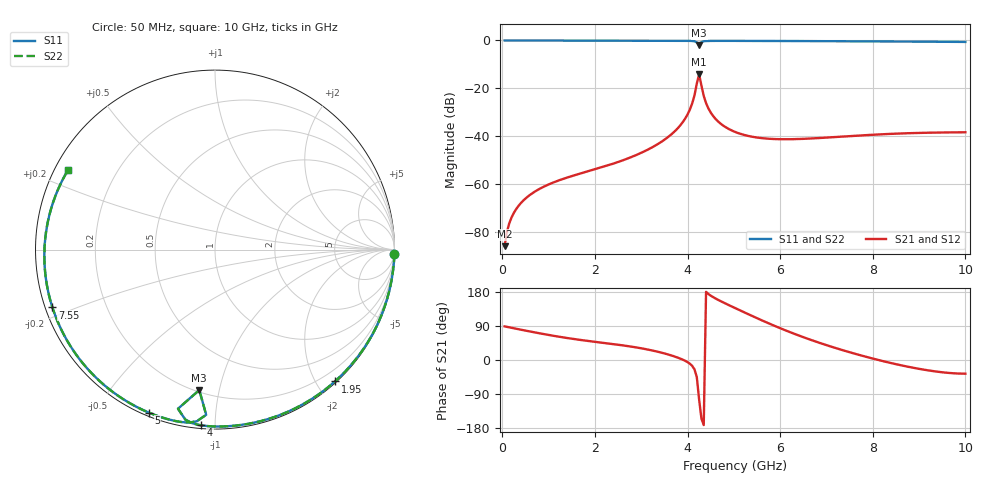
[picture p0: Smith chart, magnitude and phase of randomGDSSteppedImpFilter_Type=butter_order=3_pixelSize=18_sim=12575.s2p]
! freq	dB(S11)	phase(S11)	dB(S12)	phase(S12)
!  dB(S21)	phase(S21)	dB(S22)	phase(S22)
!S-par simulation data
#  GHz  S  DB  R 50
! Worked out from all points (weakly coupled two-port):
!   200 points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, 50 MHz to 10 GHz, reference 50 ohm
!   highest |S21| = -14.17 dB at 4.25 GHz (marker M1); lowest = -86.1 dB at 50 MHz (marker M2)
!   lowest |S11| = -2.1 dB at 4.25 GHz (marker M3), VSWR 8.41, Z = 10.6 - j43.6 ohm
!   |S11| at or under -10 dB: nowhere
!   |S22| runs from -2.1 to 0.0 dB; largest |S21 - S12| = 0
!   S11 on the Smith chart (normalised r, x): 50 MHz: 0, -91; 1.95 GHz: 0.02, -2.26; 4 GHz: 0.02, -0.93; 5 GHz: 0.01, -0.67; 7.55 GHz: 0.02, -0.17; 10 GHz: 0.04, +0.25
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0.05  -0.00 -1.3  -86.06 88.7  -86.06 88.7  -0.00 -1.3
0.1  -0.00 -2.5  -80.04 87.4  -80.04 87.4  -0.00 -2.5
0.3  -0.01 -7.5  -70.53 82.4  -70.53 82.4  -0.01 -7.5
0.6  -0.02 -15.0  -64.58 75.2  -64.58 75.2  -0.02 -15.0
1.75  -0.05 -43.0  -55.30 51.9  -55.30 51.9  -0.05 -43.0
1.95  -0.06 -47.7  -54.18 48.7  -54.18 48.7  -0.06 -47.7
3.4  -0.11 -80.6  -42.84 20.6  -42.84 20.6  -0.11 -80.6
3.75  -0.12 -88.3  -37.51 8.0  -37.51 8.0  -0.12 -88.4
4  -0.16 -94.4  -30.96 -5.6  -30.96 -5.6  -0.16 -94.4
4.1  -0.22 -97.6  -26.38 -15.4  -26.38 -15.4  -0.22 -97.6
4.2  -0.82 -103.1  -18.07 -44.9  -18.07 -44.9  -0.82 -103.1
4.25  -2.08 -96.4  -14.17 -104.1  -14.17 -104.1  -2.08 -96.4
4.35  -0.34 -96.0  -23.21 -171.7  -23.21 -171.7  -0.34 -96.0
4.5  -0.19 -101.1  -30.13 169.8  -30.13 169.8  -0.19 -101.1
4.7  -0.17 -105.8  -34.58 156.2  -34.58 156.2  -0.17 -105.9
5  -0.17 -112.1  -38.06 138.6  -38.06 138.6  -0.17 -112.1
5.05  -0.18 -113.1  -38.45 135.7  -38.45 135.7  -0.18 -113.1
5.7  -0.21 -125.8  -41.04 99.5  -41.04 99.5  -0.21 -125.9
6.7  -0.27 -144.7  -40.98 51.5  -40.98 51.5  -0.27 -144.7
7.55  -0.34 -160.4  -39.96 18.7  -39.96 18.7  -0.34 -160.4
8.35  -0.42 -175.4  -39.11 -6.8  -39.11 -6.8  -0.42 -175.4
10  -0.62 151.7  -38.41 -36.1  -38.41 -36.1  -0.62 151.7
